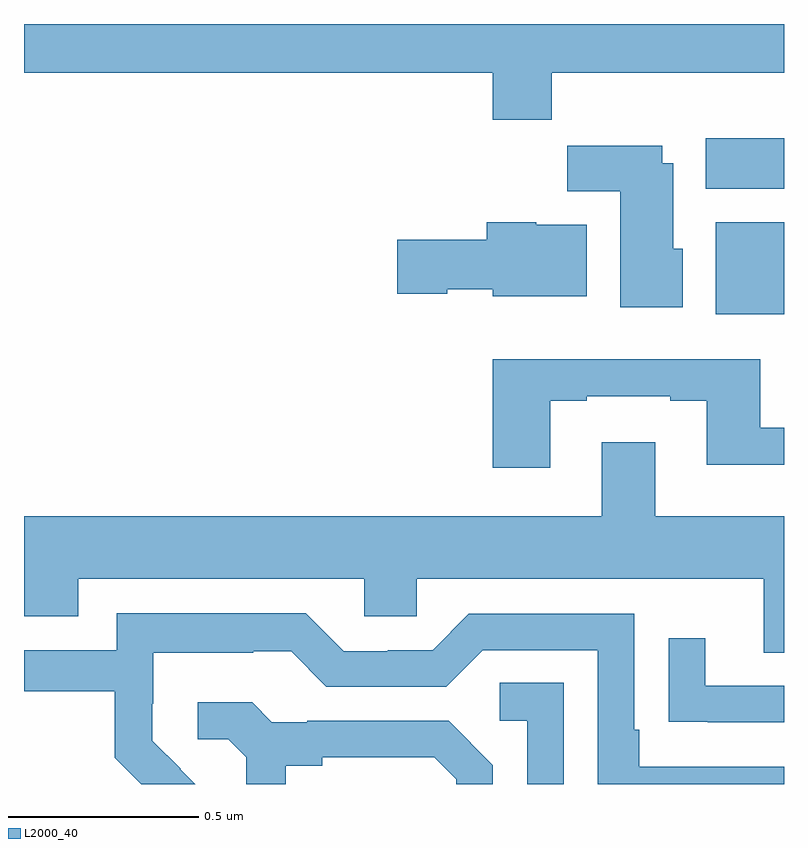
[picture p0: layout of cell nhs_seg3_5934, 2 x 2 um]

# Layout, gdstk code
import gdstk
lib = gdstk.Library(unit=1e-6, precision=1e-09)
def R(c, l, rs):  # rectangles x0, y0, x1, y1
    for r in rs: c.add(gdstk.rectangle(r[:2], r[2:], *l))
def P(c, l, *ps):  # polygons
    for p in ps: c.add(gdstk.Polygon(p, *l))
L2000_40 = (2000, 40)

nhs_seg3_5934 = lib.new_cell('nhs_seg3_5934')
R(nhs_seg3_5934, L2000_40, [(186.821,677.636,187,677.878), (186.794,677.966,187,678.1)])
P(nhs_seg3_5934, L2000_40, [(186.389,678.272),(187,678.272),(187,678.4),(185,678.4),(185,678.272),(186.233,678.272),(186.233,678.148),(186.389,678.148)],
  [(186.733,677.808),(186.709,677.808),(186.709,678.034),(186.679,678.034),(186.679,678.079),(186.43,678.079),(186.43,677.96),(186.569,677.96),(186.569,677.654),(186.733,677.654)],
  [(186.481,677.872),(186.348,677.872),(186.348,677.878),(186.218,677.878),(186.218,677.832),(185.982,677.832),(185.982,677.69),(186.114,677.69),(186.114,677.702),(186.234,677.702),(186.234,677.684),(186.481,677.684)],
  [(186.385,677.409),(186.481,677.409),(186.481,677.421),(186.701,677.421),(186.701,677.409),(186.797,677.409),(186.797,677.24),(187,677.24),(187,677.337),(186.937,677.337),(186.937,677.518),(186.233,677.518),(186.233,677.232),(186.385,677.232)],
  [(186.661,677.299),(186.521,677.299),(186.521,677.104),(185,677.104),(185,676.841),(185.143,676.841),(185.143,676.94),(185.895,676.94),(185.895,676.842),(186.033,676.842),(186.033,676.94),(186.947,676.94),(186.947,676.746),(187,676.746),(187,677.104),(186.661,677.104)],
  [(185.411,676.439),(185.412,676.44),(185.338,676.514),(185.338,676.611),(185.34,676.611),(185.34,676.745),(185.603,676.745),(185.603,676.749),(185.703,676.749),(185.796,676.656),(186.111,676.656),(186.207,676.752),(186.51,676.752),(186.51,676.4),(187,676.4),(187,676.446),(186.619,676.446),(186.619,676.543),(186.606,676.543),(186.606,676.848),(186.171,676.848),(186.075,676.752),(185.957,676.752),(185.957,676.749),(185.841,676.749),(185.741,676.849),(185.244,676.849),(185.244,676.752),(185,676.752),(185,676.644),(185.239,676.644),(185.239,676.469),(185.308,676.4),(185.45,676.4)],
  [(187,676.659),(186.793,676.659),(186.793,676.783),(186.697,676.783),(186.697,676.564),(186.799,676.564),(186.799,676.563),(187,676.563)],
  [(186.42,676.667),(186.252,676.667),(186.252,676.566),(186.324,676.566),(186.324,676.4),(186.42,676.4)],
  [(185.689,676.448),(185.785,676.448),(185.785,676.47),(186.08,676.47),(186.137,676.413),(186.137,676.4),(186.234,676.4),(186.234,676.45),(186.118,676.566),(185.746,676.566),(185.746,676.563),(185.652,676.563),(185.6,676.615),(185.457,676.615),(185.457,676.518),(185.538,676.518),(185.585,676.471),(185.585,676.4),(185.689,676.4)])

lib.write_gds('nhs_seg3_5934.gds')
